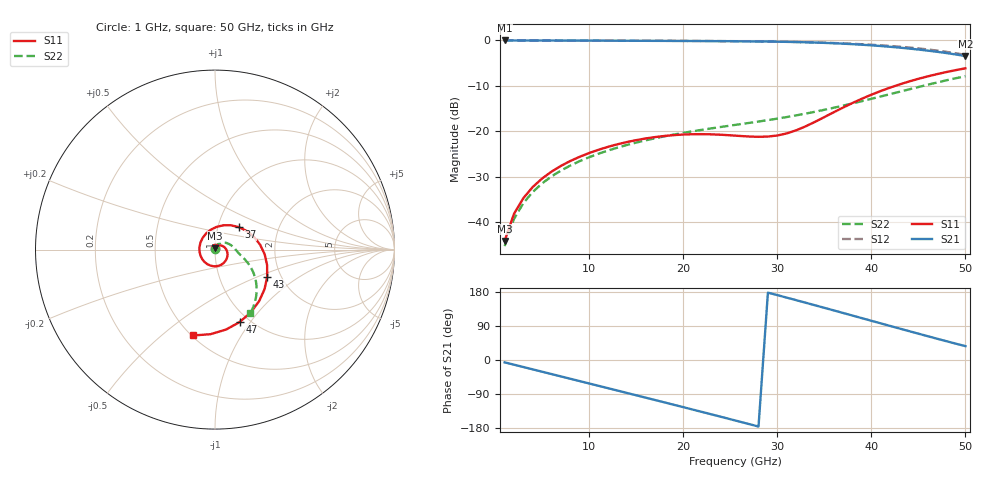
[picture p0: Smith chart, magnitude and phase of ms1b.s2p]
! Impedora 0.10.0 via model, case ms1b (fullwave/cases.json), 2026-11-19
! As ms1 with a 1.0 mm antipad: 0.25 mm of trace over the plane opening: with its pads and traces, ports at the far end of each trace, after the 3D port calibration.
! Ports: 1 = upper end, 2 = lower end, 50 ohm.
! Compared with the edge 3D mesh.
# Hz S RI R 50
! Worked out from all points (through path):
!   50 points, 1 GHz to 50 GHz, reference 50 ohm
!   highest |S21| = 0.00 dB at 1 GHz (marker M1); lowest = -3.4 dB at 50 GHz (marker M2)
!   group delay of S21, straight-line fit = 18 ps
!   lowest |S11| = -44.1 dB at 1 GHz (marker M3), VSWR 1.01, Z = 50.1 + j0.615 ohm
!   |S11| at or under -10 dB: start of sweep to 42.53 GHz
!   |S22| runs from -45.3 to -7.9 dB; largest |S21 - S12| = 1.5
!   S11 on the Smith chart (normalised r, x): 1 GHz: 1.00, +0.01; 37 GHz: 1.26, +0.33; 43 GHz: 1.69, -0.58; 47 GHz: 0.90, -0.89; 50 GHz: 0.51, -0.64
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1e9  0.000906 0.00614  0.9941 -0.1081  0.9983 -0.0571  0.000432 0.00543
2e9  0.00356 0.0118  0.9764 -0.2149  0.9932 -0.1141  0.00171 0.0107
3e9  0.00781 0.0167  0.9471 -0.3191  0.9848 -0.1705  0.00379 0.0158
4e9  0.0134 0.0205  0.9067 -0.4194  0.9732 -0.2264  0.00662 0.0205
7e9  0.0352 0.0225  0.7244 -0.6856  0.9192 -0.3883  0.0188 0.0319
1e10  0.0571 0.00868  0.4669 -0.8792  0.8382 -0.5386  0.0351 0.0383
1.4e10  0.0698 -0.0306  0.0537 -0.9909  0.6919 -0.7137  0.0597 0.0379
1.6e10  0.0637 -0.054  -0.1614 -0.9775  0.604 -0.7878  0.0719 0.0341
1.8e10  0.0477 -0.0751  -0.3687 -0.9176  0.5076 -0.8512  0.0834 0.0282
2.2e10  -0.0089 -0.0927  -0.7213 -0.6704  0.2934 -0.9424  0.1033 0.0124
2.6e10  -0.0705 -0.0543  -0.9345 -0.2918  0.0593 -0.979  0.1195 -0.00576
2.8e10  -0.0861 -0.0125  -0.9719 -0.0742  -0.0613 -0.9743  0.1273 -0.0149
3e10  -0.0813 0.0386  -0.9575 0.1476  -0.1816 -0.953  0.1359 -0.0241
3.2e10  -0.05 0.0896  -0.89 0.3607  -0.299 -0.9145  0.1458 -0.0341
3.4e10  0.0089 0.1267  -0.7718 0.5508  -0.4106 -0.8582  0.1577 -0.0457
3.7e10  0.1336 0.1249  -0.5163 0.7634  -0.5589 -0.7419  0.179 -0.0692
3.9e10  0.2174 0.0707  -0.3126 0.8413  -0.6397 -0.6453  0.1947 -0.0911
4.2e10  0.2904 -0.0867  0.00205 0.8517  -0.7254 -0.4791  0.2172 -0.1369
4.3e10  0.2906 -0.1526  0.1009 0.8277  -0.7431 -0.4199  0.2234 -0.1563
4.5e10  0.2456 -0.2877  0.2783 0.7443  -0.7602 -0.2996  0.2314 -0.2021
4.7e10  0.1375 -0.4037  0.4184 0.6227  -0.7518 -0.1819  0.2299 -0.2573
5e10  -0.1209 -0.4784  0.5412 0.4018  -0.693 -0.0271  0.1977 -0.3524
